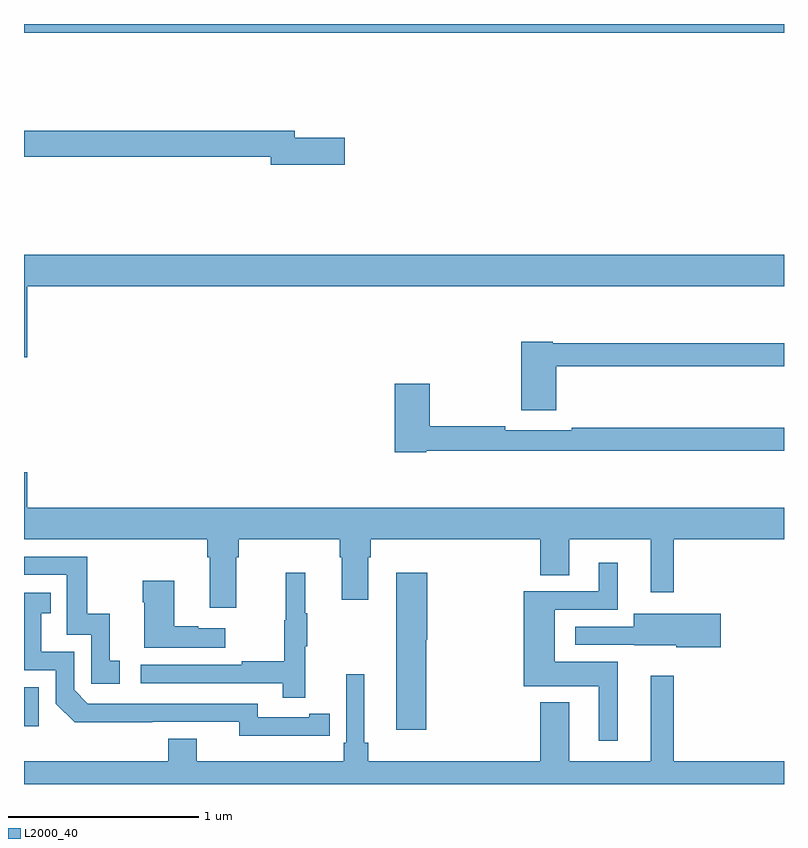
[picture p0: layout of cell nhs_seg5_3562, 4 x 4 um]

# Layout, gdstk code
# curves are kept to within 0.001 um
import gdstk
lib = gdstk.Library(unit=1e-6, precision=1e-09)
def R(c, l, rs):  # rectangles x0, y0, x1, y1
    for r in rs: c.add(gdstk.rectangle(r[:2], r[2:], *l))
def P(c, l, *ps):  # polygons
    for p in ps: c.add(gdstk.Polygon(p, *l))
L2000_40 = (2000, 40)

nhs_seg5_3562 = lib.new_cell('nhs_seg5_3562')
R(nhs_seg5_3562, L2000_40, [(321,861.102,321.078,861.309), (321,864.752,325,864.799)])
P(nhs_seg5_3562, L2000_40, [(322.687,864.2),(322.426,864.2),(322.426,864.236),(321,864.236),(321,864.1),(322.298,864.1),(322.298,864.058),(322.687,864.058)],
  [(321.016,863.42),(325,863.42),(325,863.584),(321,863.584),(321,863.046),(321.016,863.046)],
  [(323.801,862.998),(325,862.998),(325,863.119),(323.784,863.119),(323.784,863.127),(323.618,863.127),(323.618,862.767),(323.801,862.767)],
  [(323.118,862.554),(325,862.554),(325,862.675),(323.884,862.675),(323.884,862.662),(323.534,862.662),(323.534,862.682),(323.135,862.682),(323.135,862.906),(322.952,862.906),(322.952,862.546),(323.118,862.546)],
  [(322.117,861.992),(322.13,861.992),(322.13,862.088),(322.661,862.088),(322.661,861.992),(322.673,861.992),(322.673,861.768),(322.813,861.768),(322.813,861.992),(322.826,861.992),(322.826,862.088),(323.717,862.088),(323.717,861.898),(323.869,861.898),(323.869,862.088),(324.299,862.088),(324.299,861.807),(324.421,861.807),(324.421,862.088),(325,862.088),(325,862.252),(321.016,862.252),(321.016,862.441),(321,862.441),(321,862.088),(321.965,862.088),(321.965,861.992),(321.977,861.992),(321.977,861.726),(322.117,861.726)],
  [(321.505,861.447),(321.452,861.447),(321.452,861.694),(321.334,861.694),(321.334,861.996),(321,861.996),(321,861.9),(321.225,861.9),(321.225,861.585),(321.354,861.585),(321.354,861.327),(321.505,861.327)],
  [(324.124,861.442),(323.794,861.442),(323.794,861.717),(324.124,861.717),(324.124,861.964),(324.026,861.964),(324.026,861.813),(323.63,861.813),(323.63,861.314),(324.026,861.314),(324.026,861.027),(324.124,861.027)],
  [(322.481,861.523),(322.492,861.523),(322.492,861.697),(322.481,861.697),(322.481,861.91),(322.378,861.91),(322.378,861.66),(322.371,861.66),(322.371,861.446),(322.147,861.446),(322.147,861.426),(321.615,861.426),(321.615,861.33),(322.363,861.33),(322.363,861.252),(322.481,861.252)],
  [(323.117,861.558),(323.122,861.558),(323.122,861.91),(322.958,861.91),(322.958,861.084),(323.117,861.084)],
  [(322.06,861.619),(321.917,861.619),(321.917,861.629),(321.79,861.629),(321.79,861.868),(321.625,861.868),(321.625,861.755),(321.632,861.755),(321.632,861.515),(322.06,861.515)],
  [(322.502,861.054),(322.61,861.054),(322.61,861.17),(322.502,861.17),(322.502,861.15),(322.23,861.15),(322.23,861.222),(321.336,861.222),(321.264,861.294),(321.264,861.495),(321.091,861.495),(321.091,861.699),(321.14,861.699),(321.14,861.805),(321,861.805),(321,861.399),(321.168,861.399),(321.168,861.222),(321.266,861.125),(322.134,861.126),(322.134,861.053)],
  [(324.667,861.696),(324.209,861.696),(324.209,861.627),(323.901,861.627),(323.901,861.531),(324.213,861.531),(324.213,861.53),(324.432,861.53),(324.432,861.518),(324.667,861.518)],
  [(322.811,861.016),(322.792,861.016),(322.792,861.376),(322.695,861.376),(322.695,861.016),(322.682,861.016),(322.682,860.92),(321.91,860.92),(321.91,861.037),(321.758,861.037),(321.758,860.92),(321,860.92),(321,860.799),(325,860.799),(325,860.92),(324.421,860.92),(324.421,861.37),(324.299,861.37),(324.299,860.92),(323.869,860.92),(323.869,861.229),(323.717,861.229),(323.717,860.92),(322.811,860.92)])

lib.write_gds('nhs_seg5_3562.gds')
